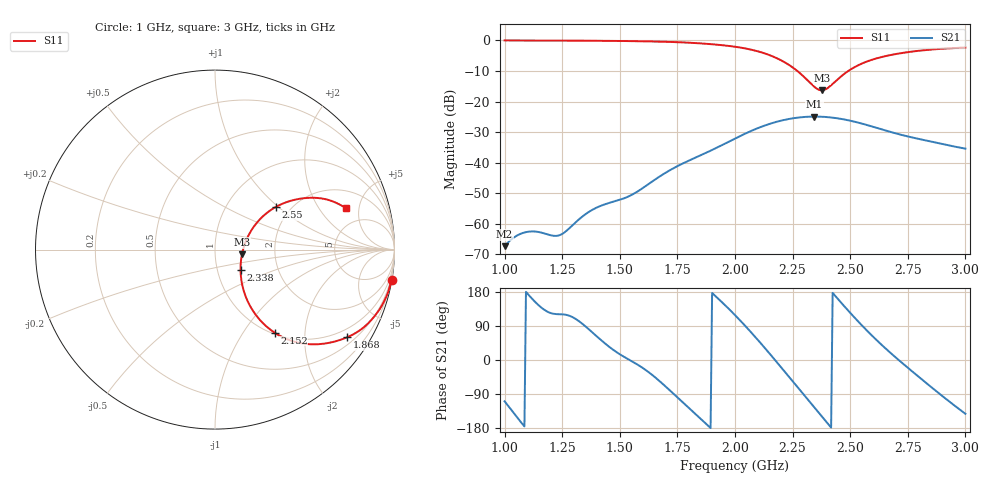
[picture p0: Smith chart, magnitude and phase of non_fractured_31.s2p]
! TOUCHSTONE file generated by CST MICROWAVE STUDIO
! Date and time: Sat Mar  8 13:54:07 2025
! Project name: non_fractured.cst
! Parameters = {B=2.5; D=160; F=10; Feed=2.85625; L=100; M=5; R=0.384908; S=2.5; Theta=180; length=57.125; wave=114.25}
! Header version: 2024
! Port assignment regex: !\s*Touchstone port\s*([0-9]+)\s*=\s*(CST MWS port|CST DES external port|CST DES block port)\s*(.+)\s* \(\"(.*)\"\)(\s*mode\s*([0-9]+))?.*
! Touchstone port assignment:
! Touchstone port 1 = CST MWS port 1 ("")
! Touchstone port 2 = CST MWS port 2 ("")
# GHz S DB R 50
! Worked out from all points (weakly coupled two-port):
!   303 points, 1 GHz to 3 GHz, reference 50 ohm
!   highest |S21| = -24.93 dB at 2.344 GHz (marker M1); lowest = -67.3 dB at 1 GHz (marker M2)
!   lowest |S11| = -16.3 dB at 2.377 GHz (marker M3), VSWR 1.36, Z = 67.5 - j3.67 ohm
!   |S11| at or under -10 dB: 2.27 GHz to 2.492 GHz (221.5 MHz wide, 9.3 % of centre)
!   S12 and S22 are empty: the file has one direction only
!   S11 on the Smith chart (normalised r, x): 1 GHz: 0, -12; 1.868 GHz: 0.71, -3.18; 2.152 GHz: 1.02, -1.40; 2.338 GHz: 1.29, -0.31; 2.55 GHz: 1.68, +0.97; 3 GHz: 3.26, +3.64
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1  -0.02 -9.7  -67.34 -109.0  -200.00 0.0  -200.00 0.0
1.04636  -0.02 -10.4  -64.19 -145.3  -200.00 0.0  -200.00 0.0
1.09272  -0.03 -11.0  -62.74 179.9  -200.00 0.0  -200.00 0.0
1.23841  -0.05 -13.3  -63.74 120.8  -200.00 0.0  -200.00 0.0
1.33775  -0.09 -15.2  -57.63 95.4  -200.00 0.0  -200.00 0.0
1.40397  -0.12 -16.6  -54.56 60.3  -200.00 0.0  -200.00 0.0
1.54967  -0.23 -20.4  -50.63 -2.5  -200.00 0.0  -200.00 0.0
1.66887  -0.40 -24.2  -44.73 -53.7  -200.00 0.0  -200.00 0.0
1.86755  -1.06 -33.5  -37.02 -164.7  -200.00 0.0  -200.00 0.0
2  -2.08 -41.9  -32.12 118.5  -200.00 0.0  -200.00 0.0
2.07947  -3.19 -48.4  -29.32 66.5  -200.00 0.0  -200.00 0.0
2.15232  -4.89 -54.3  -27.27 15.4  -200.00 0.0  -200.00 0.0
2.24503  -8.57 -58.1  -25.57 -52.3  -200.00 0.0  -200.00 0.0
2.33775  -14.74 -39.0  -24.93 -120.7  -200.00 0.0  -200.00 0.0
2.34437  -15.18 -35.2  -24.93 -125.6  -200.00 0.0  -200.00 0.0
2.37748  -16.34 -10.0  -24.99 -149.7  -200.00 0.0  -200.00 0.0
2.40397  -15.49 10.2  -25.13 -168.8  -200.00 0.0  -200.00 0.0
2.4702  -11.18 32.6  -25.82 144.7  -200.00 0.0  -200.00 0.0
2.54967  -7.61 35.0  -27.20 92.0  -200.00 0.0  -200.00 0.0
2.66887  -4.89 30.1  -29.82 22.0  -200.00 0.0  -200.00 0.0
2.82781  -3.16 23.3  -32.74 -59.6  -200.00 0.0  -200.00 0.0
3  -2.33 17.7  -35.42 -142.0  -200.00 0.0  -200.00 0.0
